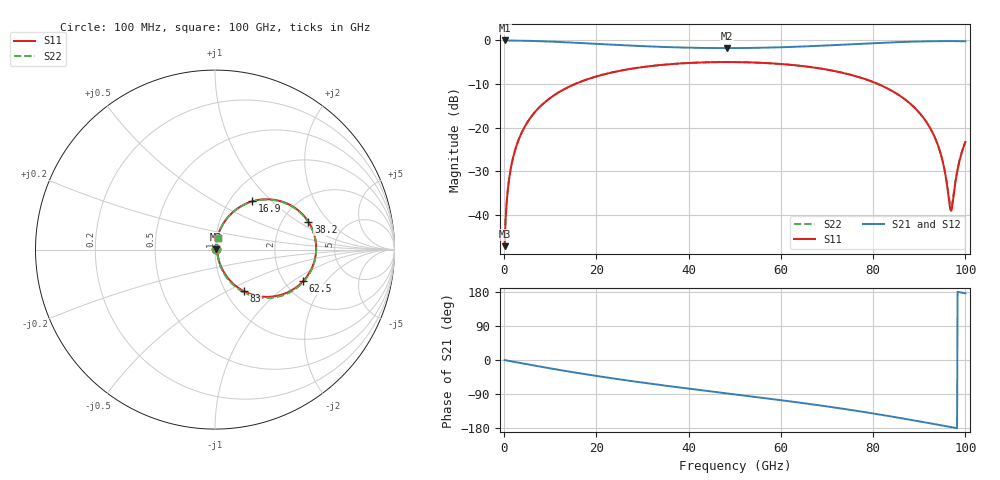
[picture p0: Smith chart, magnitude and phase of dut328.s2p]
! Touchstone file exported from HFSS 2026.1.0
!  File:  C:/ffzhzh/LocalFiles/Ansys_Project_Files/temp_train_RDL_328_1783502818_41296.aedt
!  Generated:  05:28:40 PM Jul  8, 2026
!  Design:  RDL
!  Project:  temp_train_RDL_328_1783502818_41296
! Variables:
!  h_bsmrdl = 2um
!  h_ox = 20um
!  h_rdl = 5um
!  h_sub = 80um
!  h_tmrdl = 2.99um
!  h_tsv = 80um
!  h_via = 3um
!  l_bsmrdl = 300um
!  l_sub = 1007.54um
!  l_tmrdl = 607.54um
!  m_sub = 200um
!  pitch = 47.32um
!  r_tsv = 6um
!  s_tmrdl = 10um
!  w_bsmrdl = 18um
!  w_sub = 500um
!  w_tmrdl = 21.52um
!  x_tsv_center1 = 618.3um
!  x_tsv_center2 = 936.3um
!  x_tsv_center3 = 1565.36um
!  x_tsv_center4 = 1883.36um
!  x_tsv_center5 = 2512.42um
!  x_tsv_center6 = 2830.42um
# GHz S MA R 50.000000
! Terminal data exported
! Port[1] = TM_RDL1_1_T1
! Port[2] = TM_RDL1_1_T2
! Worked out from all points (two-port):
!   1000 points, 100 MHz to 100 GHz, reference 50 ohm
!   highest |S21| = -0.03 dB at 100 MHz (marker M1); lowest = -1.8 dB at 48.3 GHz (marker M2)
!   |S21| within 3 dB of the highest: start of sweep to end of sweep
!   lowest |S11| = -47.2 dB at 100 MHz (marker M3), VSWR 1.01, Z = 50.4 + j0.256 ohm
!   |S11| at or under -10 dB: start of sweep to 15.39 GHz; 81.03 GHz to end of sweep
!   |S22| runs from -47.2 to -5.0 dB; largest |S21 - S12| = 1.7e-14
!   S11 on the Smith chart (normalised r, x): 100 MHz: 1.01, +0.01; 16.9 GHz: 1.26, +0.77; 38.2 GHz: 2.78, +1.22; 62.5 GHz: 2.51, -1.21; 83 GHz: 1.22, -0.61; 100 GHz: 1.02, +0.14
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0.1  0.00438 35.5  0.9964 -0.2  0.9964 -0.2  0.004381 35.5
! Gamma 0 0 0 0
! Port Impedance 50 0 50 0
0.9  0.02178 76.3  0.9954 -2.1  0.9954 -2.1  0.02178 76.3
1.5  0.03538 79.0  0.9947 -3.4  0.9947 -3.4  0.03538 79.0
4.1  0.0943 77.4  0.99 -9.3  0.99 -9.3  0.0943 77.3
9  0.1989 67.8  0.9721 -20.0  0.9721 -20.0  0.1989 67.7
16.8  0.3388 52.4  0.9302 -35.9  0.9302 -35.9  0.3388 52.2
16.9  0.3403 52.3  0.9296 -36.1  0.9296 -36.1  0.3404 52.0
33.4  0.518 23.9  0.8436 -65.2  0.8436 -65.2  0.5181 23.4
38.2  0.5432 16.6  0.8279 -72.7  0.8279 -72.7  0.5433 15.9
48.3  0.5638 1.6  0.8144 -88.1  0.8144 -88.1  0.5639 0.8
50.1  0.5631 -1.0  0.8148 -90.8  0.8148 -90.8  0.5632 -1.9
62.5  0.5216 -19.7  0.8409 -109.9  0.8409 -109.9  0.5216 -20.7
66.7  0.4915 -26.4  0.858 -116.9  0.858 -116.9  0.4916 -27.5
83  0.2828 -55.2  0.9423 -147.1  0.9423 -147.1  0.2828 -56.5
83.4  0.2757 -55.9  0.9443 -147.9  0.9443 -147.9  0.2758 -57.2
88.8  0.1728 -65.7  0.9663 -159.3  0.9663 -159.3  0.1728 -66.9
92.6  0.09366 -70.7  0.9758 -167.6  0.9758 -167.6  0.09372 -71.7
94.8  0.04679 -68.6  0.9785 -172.4  0.9785 -172.4  0.047 -68.8
96.8  0.01127 -5.9  0.979 -176.9  0.979 -176.9  0.01249 -6.2
97.2  0.01311 34.4  0.9789 -177.7  0.9789 -177.7  0.01425 30.4
98.7  0.04116 73.5  0.9778 178.9  0.9778 178.9  0.04164 70.1
100  0.06866 77.1  0.976 176.1  0.976 176.1  0.06901 74.2
